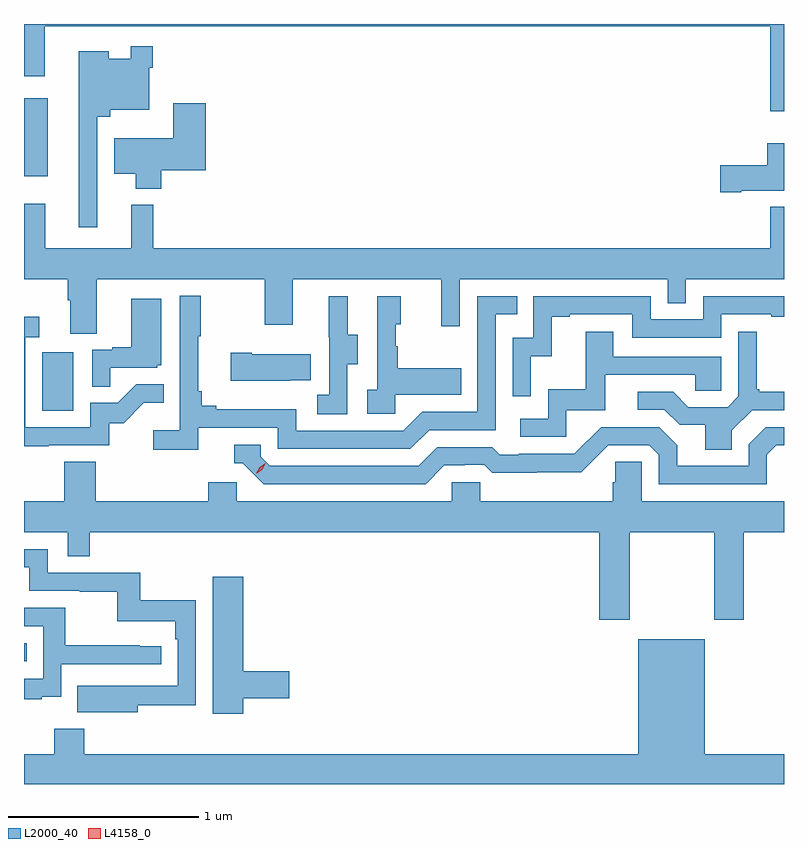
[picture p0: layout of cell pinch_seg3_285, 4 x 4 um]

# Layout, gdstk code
import gdstk
lib = gdstk.Library(unit=1e-6, precision=1e-09)
def R(c, l, rs):  # rectangles x0, y0, x1, y1
    for r in rs: c.add(gdstk.rectangle(r[:2], r[2:], *l))
def P(c, l, *ps):  # polygons
    for p in ps: c.add(gdstk.Polygon(p, *l))
L2000_40 = (2000, 40)
L4158_0 = (4158, 0)

pinch_seg3_285 = lib.new_cell('pinch_seg3_285')
R(pinch_seg3_285, L2000_40, [(926.24,716.22,926.255,716.316), (926.336,717.54,926.5,717.847), (926.24,718.775,926.365,719.185)])
P(pinch_seg3_285, L2000_40, [(930.24,719.575),(926.24,719.575),(926.24,719.301),(926.35,719.301),(926.35,719.564),(930.168,719.564),(930.168,719.115),(930.24,719.115)],
  [(926.625,719.087),(926.694,719.087),(926.694,719.123),(926.898,719.123),(926.898,719.345),(926.918,719.345),(926.918,719.458),(926.802,719.458),(926.802,719.392),(926.686,719.392),(926.686,719.431),(926.528,719.431),(926.528,718.506),(926.625,718.506)],
  [(926.963,718.805),(927.197,718.805),(927.197,719.158),(927.026,719.158),(927.026,718.975),(926.714,718.975),(926.714,718.787),(926.828,718.787),(926.828,718.709),(926.963,718.709)],
  [(930.016,718.697),(930.24,718.697),(930.24,718.948),(930.152,718.948),(930.152,718.832),(929.904,718.832),(929.904,718.69),(930.016,718.69)],
  [(926.623,718.232),(927.508,718.232),(927.508,717.993),(927.655,717.993),(927.655,718.232),(928.436,718.232),(928.436,717.984),(928.533,717.984),(928.533,718.232),(929.628,718.232),(929.628,718.105),(929.724,718.105),(929.724,718.232),(930.24,718.232),(930.24,718.612),(930.168,718.612),(930.168,718.396),(926.921,718.396),(926.921,718.624),(926.804,718.624),(926.804,718.396),(926.351,718.396),(926.351,718.63),(926.24,718.63),(926.24,718.232),(926.471,718.232),(926.471,718.12),(926.483,718.12),(926.483,717.946),(926.623,717.946)],
  [(927.158,717.45),(927.576,717.45),(927.576,717.339),(928.273,717.339),(928.372,717.438),(928.722,717.438),(928.722,718.047),(928.835,718.047),(928.835,718.143),(928.626,718.143),(928.626,717.534),(928.335,717.534),(928.236,717.435),(927.672,717.435),(927.672,717.547),(927.253,717.547),(927.253,717.566),(927.176,717.566),(927.176,717.643),(927.157,717.643),(927.157,717.931),(927.169,717.931),(927.169,718.144),(927.06,718.144),(927.06,717.436),(926.919,717.436),(926.919,717.334),(927.158,717.334)],
  [(928.908,717.827),(929.018,717.827),(929.018,718.035),(929.113,718.035),(929.113,718.047),(929.442,718.047),(929.442,717.924),(929.91,717.924),(929.91,718.047),(930.173,718.047),(930.173,718.035),(930.24,718.035),(930.24,718.143),(929.814,718.143),(929.814,718.02),(929.538,718.02),(929.538,718.143),(928.92,718.143),(928.92,717.924),(928.812,717.924),(928.812,717.615),(928.908,717.615)],
  [(927.942,717.784),(927.997,717.784),(927.997,717.939),(927.943,717.939),(927.943,718.141),(927.845,718.141),(927.845,717.927),(927.846,717.927),(927.846,717.623),(927.783,717.623),(927.783,717.52),(927.942,717.52)],
  [(928.194,717.623),(928.541,717.623),(928.541,717.763),(928.207,717.763),(928.207,717.878),(928.197,717.878),(928.197,717.996),(928.222,717.996),(928.222,718.141),(928.098,718.141),(928.098,717.65),(928.047,717.65),(928.047,717.525),(928.194,717.525)],
  [(926.693,717.765),(926.94,717.765),(926.94,717.78),(926.962,717.78),(926.962,718.129),(926.804,718.129),(926.804,717.874),(926.705,717.874),(926.705,717.861),(926.598,717.861),(926.598,717.667),(926.693,717.667)],
  [(926.369,717.357),(926.688,717.357),(926.688,717.474),(926.764,717.474),(926.871,717.581),(926.975,717.581),(926.975,717.68),(926.831,717.68),(926.733,717.582),(926.589,717.582),(926.589,717.453),(926.247,717.453),(926.247,717.927),(926.32,717.927),(926.32,718.033),(926.24,718.033),(926.24,717.352),(926.369,717.352)],
  [(929.965,717.436),(930.072,717.543),(930.24,717.543),(930.24,717.64),(930.109,717.64),(930.109,717.652),(930.097,717.652),(930.097,717.955),(930,717.955),(930,717.615),(929.943,717.558),(929.737,717.558),(929.656,717.639),(929.469,717.639),(929.469,717.546),(929.61,717.546),(929.69,717.466),(929.825,717.466),(929.825,717.334),(929.965,717.334)],
  [(929.094,717.543),(929.299,717.543),(929.299,717.729),(929.773,717.729),(929.773,717.645),(929.91,717.645),(929.91,717.825),(929.341,717.825),(929.341,717.955),(929.197,717.955),(929.197,717.652),(928.998,717.652),(928.998,717.498),(928.851,717.498),(928.851,717.402),(929.094,717.402)],
  [(927.641,717.701),(927.749,717.701),(927.749,717.838),(927.439,717.838),(927.439,717.846),(927.327,717.846),(927.327,717.698),(927.641,717.698)],
  [(928.453,717.252),(928.56,717.252),(928.56,717.255),(928.663,717.255),(928.705,717.213),(928.938,717.213),(928.938,717.215),(929.174,717.215),(929.316,717.357),(929.532,717.357),(929.58,717.309),(929.58,717.153),(930.15,717.153),(930.15,717.309),(930.198,717.357),(930.24,717.357),(930.24,717.453),(930.144,717.453),(930.054,717.363),(930.054,717.249),(929.677,717.249),(929.677,717.359),(929.583,717.453),(929.277,717.453),(929.136,717.312),(928.843,717.312),(928.843,717.309),(928.744,717.309),(928.705,717.348),(928.416,717.348),(928.317,717.249),(927.534,717.249),(927.486,717.297),(927.486,717.36),(927.347,717.36),(927.347,717.264),(927.39,717.264),(927.501,717.153),(928.354,717.153)],
  [(929.427,716.9),(929.872,716.9),(929.872,716.439),(930.027,716.439),(930.027,716.9),(930.24,716.9),(930.24,717.064),(929.49,717.064),(929.49,717.272),(929.353,717.272),(929.353,717.162),(929.339,717.162),(929.339,717.064),(928.641,717.064),(928.641,717.162),(928.491,717.162),(928.491,717.064),(927.36,717.064),(927.36,717.162),(927.209,717.162),(927.209,717.064),(926.618,717.064),(926.618,717.272),(926.453,717.272),(926.453,717.064),(926.24,717.064),(926.24,716.9),(926.469,716.9),(926.469,716.773),(926.585,716.773),(926.585,716.9),(929.267,716.9),(929.267,716.439),(929.427,716.439)],
  [(926.839,715.99),(927.144,715.99),(927.144,716.542),(926.851,716.542),(926.851,716.688),(926.364,716.688),(926.364,716.811),(926.24,716.811),(926.24,716.715),(926.268,716.715),(926.268,716.592),(926.533,716.592),(926.533,716.587),(926.73,716.587),(926.73,716.432),(927.035,716.432),(927.035,716.336),(927.048,716.336),(927.048,716.091),(926.735,716.091),(926.735,716.092),(926.521,716.092),(926.521,715.952),(926.839,715.952)],
  [(927.394,716.026),(927.637,716.026),(927.637,716.168),(927.394,716.168),(927.394,716.665),(927.233,716.665),(927.233,715.944),(927.394,715.944)],
  [(926.333,716.033),(926.436,716.033),(926.436,716.205),(926.962,716.205),(926.962,716.301),(926.849,716.301),(926.849,716.306),(926.456,716.306),(926.456,716.502),(926.24,716.502),(926.24,716.406),(926.34,716.406),(926.34,716.13),(926.24,716.13),(926.24,716.022),(926.333,716.022)],
  [(930.24,715.732),(929.824,715.732),(929.824,716.338),(929.474,716.338),(929.474,715.732),(926.558,715.732),(926.558,715.867),(926.398,715.867),(926.398,715.732),(926.24,715.732),(926.24,715.575),(930.24,715.575)])
P(pinch_seg3_285, L4158_0, [(927.463,717.21),(927.463,717.211),(927.48,717.243),(927.511,717.262),(927.511,717.262),(927.511,717.262),(927.495,717.23),(927.464,717.21)])

lib.write_gds('pinch_seg3_285.gds')
